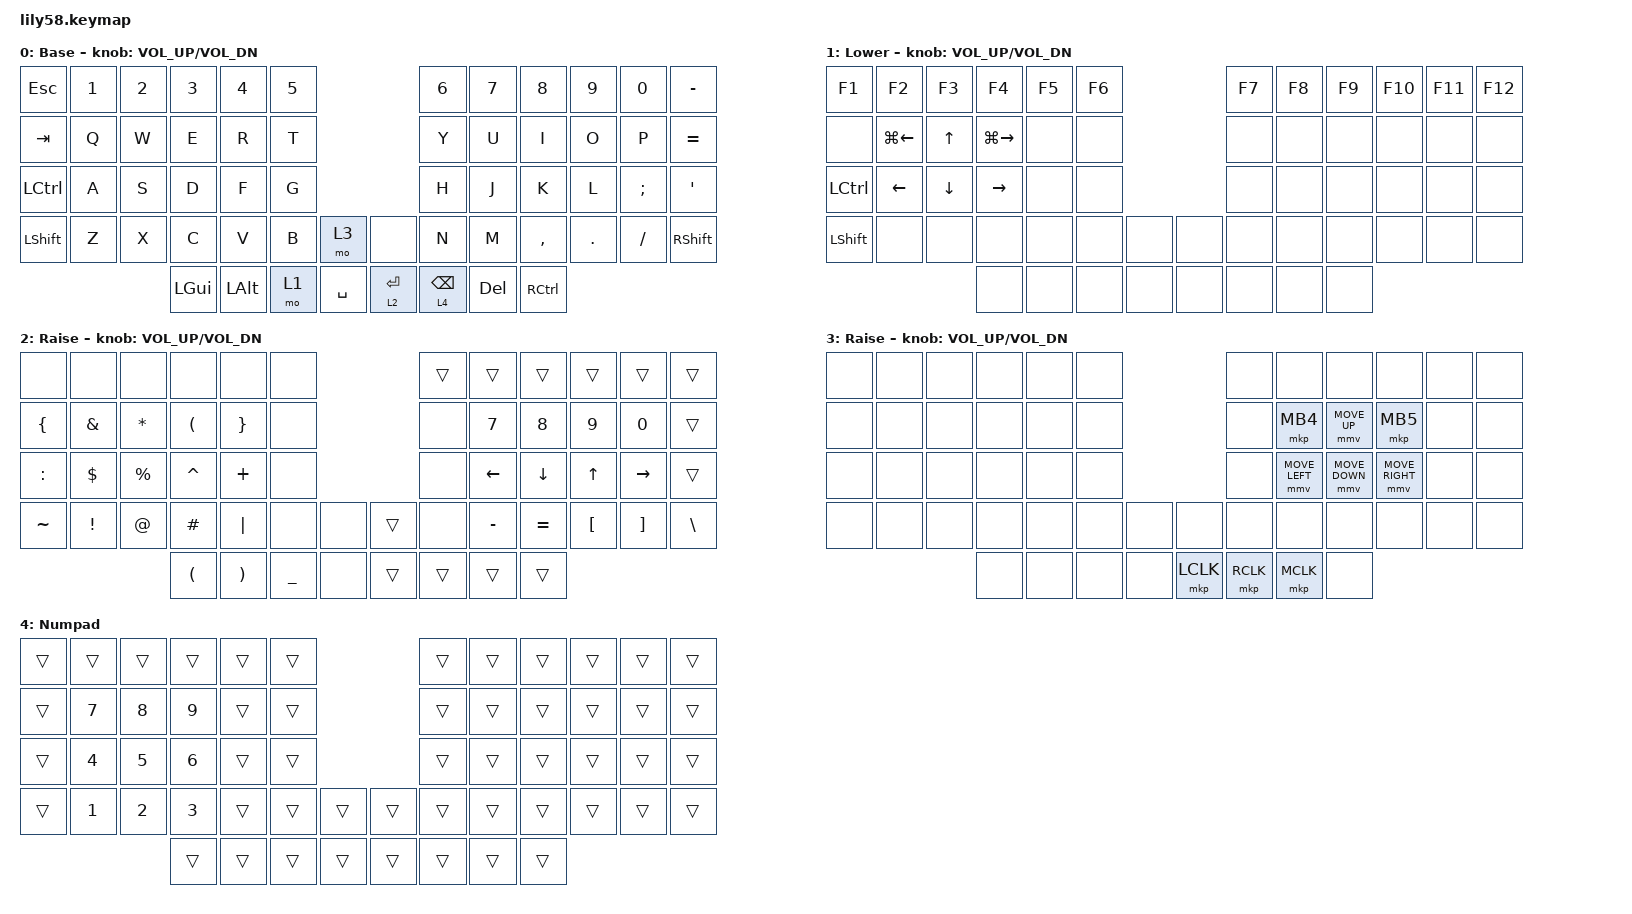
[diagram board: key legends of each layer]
/*
 * Copyright (c) 2020 The ZMK Contributors
 *
 * SPDX-License-Identifier: MIT
 */

#include <behaviors.dtsi>
#include <dt-bindings/zmk/keys.h>
#include <dt-bindings/zmk/pointing.h>

/ {
    keymap {
        compatible = "zmk,keymap";

        default_layer {
            // ------------------------------------------------------------------------------------------------------------
            // |  ESC  |  1  |  2  |  3   |  4   |  5   |                   |  6   |  7    |  8    |  9   |   0   |   `   |
            // |  TAB  |  Q  |  W  |  E   |  R   |  T   |                   |  Y   |  U    |  I    |  O   |   P   |   -   |
            // |  CTRL |  A  |  S  |  D   |  F   |  G   |                   |  H   |  J    |  K    |  L   |   ;   |   '   |
            // | SHIFT |  Z  |  X  |  C   |  V   |  B   |   "["  |  |  "]"  |  N   |  M    |  ,    |  .   |   /   | SHIFT |
            //                     | ALT  | GUI  | LOWER|  SPACE |  | ENTER | RAISE| BSPC  | GUI   |

            display-name = "Base";
            bindings = <
&kp ESC    &kp N1  &kp N2  &kp N3    &kp N4        &kp N5                            &kp N6           &kp N7   &kp N8     &kp N9   &kp N0    &kp MINUS
&kp TAB    &kp Q   &kp W   &kp E     &kp R         &kp T                             &kp Y            &kp U    &kp I      &kp O    &kp P     &kp EQUAL
&kp LCTRL  &kp A   &kp S   &kp D     &kp F         &kp G                             &kp H            &kp J    &kp K      &kp L    &kp SEMI  &kp SQT
&kp LSHFT  &kp Z   &kp X   &kp C     &kp V         &kp B   &mo 3        &none        &kp N            &kp M    &kp COMMA  &kp DOT  &kp FSLH  &kp RSHFT
                           &kp LGUI  &kp LEFT_ALT  &mo 1   &kp SPACE    &lt 2 ENTER  &lt 4 BACKSPACE  &kp DEL  &kp RCTRL
            >;

            sensor-bindings = <&inc_dec_kp C_VOL_UP C_VOL_DN>;
        };

        lower_layer {
            // ------------------------------------------------------------------------------------------------------------
            // | BTCLR | BT1 | BT2 |  BT3 |  BT4 |  BT5 |                   |      |       |       |      |       |       |
            // |  F1   |  F2 |  F3 |  F4  |  F5  |  F6  |                   |  F7  |  F8   |  F9   |  F10 |  F11  |  F12  |
            // |   `   |  !  |  @  |  #   |  $   |  %   |                   |  ^   |  &    |  *    |  (   |   )   |   ~   |
            // |       |     |     |      |      |      |        |  |       |      |  _    |  +    |  {   |   }   |  "|"  |
            //                     |      |      |      |        |  |       |      |       |       |

            display-name = "Lower";
            bindings = <
&kp F1          &kp F2          &kp F3          &kp F4           &kp F5  &kp F6                  &kp F7  &kp F8  &kp F9  &kp F10  &kp F11  &kp F12
&none           &kp LG(LEFT)    &kp UP_ARROW    &kp LG(RIGHT)    &none   &none                   &none   &none   &none   &none    &none    &none
&kp LCTRL       &kp LEFT_ARROW  &kp DOWN_ARROW  &kp RIGHT_ARROW  &none   &none                   &none   &none   &none   &none    &none    &none
&kp LEFT_SHIFT  &none           &none           &none            &none   &none   &none    &none  &none   &none   &none   &none    &none    &none
                                                &none            &none   &none   &none    &none  &none   &none   &none
            >;

            sensor-bindings = <&inc_dec_kp C_VOL_UP C_VOL_DN>;
        };

        Sym {
            // ------------------------------------------------------------------------------------------------------------
            // |       |     |     |      |      |      |                   |      |       |       |      |       |       |
            // |   `   |  1  |  2  |  3   |  4   |  5   |                   |  6   |   7   |   8   |  9   |   0   |       |
            // |   F1  |  F2 |  F3 |  F4  |  F5  |  F6  |                   |      |   <-  |   v   |  ^   |  ->   |       |
            // |   F7  |  F8 |  F9 |  F10 |  F11 |  F12 |        |  |       |  +   |   -   |   =   |  [   |   ]   |   \   |
            //                     |      |      |      |        |  |       |      |       |       |

            display-name = "Raise";
            bindings = <
&none           &none            &none         &none                 &none                  &none                            &trans  &trans     &trans     &trans    &trans     &trans
&kp LEFT_BRACE  &kp AMPERSAND    &kp ASTERISK  &kp LEFT_PARENTHESIS  &kp RIGHT_BRACE        &none                            &none   &kp N7     &kp N8     &kp N9    &kp N0     &trans
&kp COLON       &kp DOLLAR       &kp PERCENT   &kp CARET             &kp PLUS               &none                            &none   &kp LEFT   &kp DOWN   &kp UP    &kp RIGHT  &trans
&kp TILDE       &kp EXCLAMATION  &kp AT_SIGN   &kp POUND             &kp PIPE               &none           &none    &trans  &none   &kp MINUS  &kp EQUAL  &kp LBKT  &kp RBKT   &kp BSLH
                                               &kp LEFT_PARENTHESIS  &kp RIGHT_PARENTHESIS  &kp UNDERSCORE  &none    &trans  &trans  &trans     &trans
            >;

            sensor-bindings = <&inc_dec_kp C_VOL_UP C_VOL_DN>;
        };

        Mouse {
            display-name = "Raise";
            bindings = <
&none  &none  &none  &none  &none  &none                      &none      &none           &none           &none            &none  &none
&none  &none  &none  &none  &none  &none                      &none      &mkp MB4        &mmv MOVE_UP    &mkp MB5         &none  &none
&none  &none  &none  &none  &none  &none                      &none      &mmv MOVE_LEFT  &mmv MOVE_DOWN  &mmv MOVE_RIGHT  &none  &none
&none  &none  &none  &none  &none  &none  &none    &none      &none      &none           &none           &none            &none  &none
                     &none  &none  &none  &none    &mkp LCLK  &mkp RCLK  &mkp MCLK       &none
            >;

            sensor-bindings = <&inc_dec_kp C_VOL_UP C_VOL_DN>;
        };

        Numpad {
            bindings = <
&trans  &trans        &trans        &trans        &trans  &trans                    &trans  &trans  &trans  &trans  &trans  &trans
&trans  &kp NUMBER_7  &kp NUMBER_8  &kp NUMBER_9  &trans  &trans                    &trans  &trans  &trans  &trans  &trans  &trans
&trans  &kp NUMBER_4  &kp NUMBER_5  &kp NUMBER_6  &trans  &trans                    &trans  &trans  &trans  &trans  &trans  &trans
&trans  &kp NUMBER_1  &kp NUMBER_2  &kp NUMBER_3  &trans  &trans  &trans    &trans  &trans  &trans  &trans  &trans  &trans  &trans
                                    &trans        &trans  &trans  &trans    &trans  &trans  &trans  &trans
            >;
        };
    };
};
